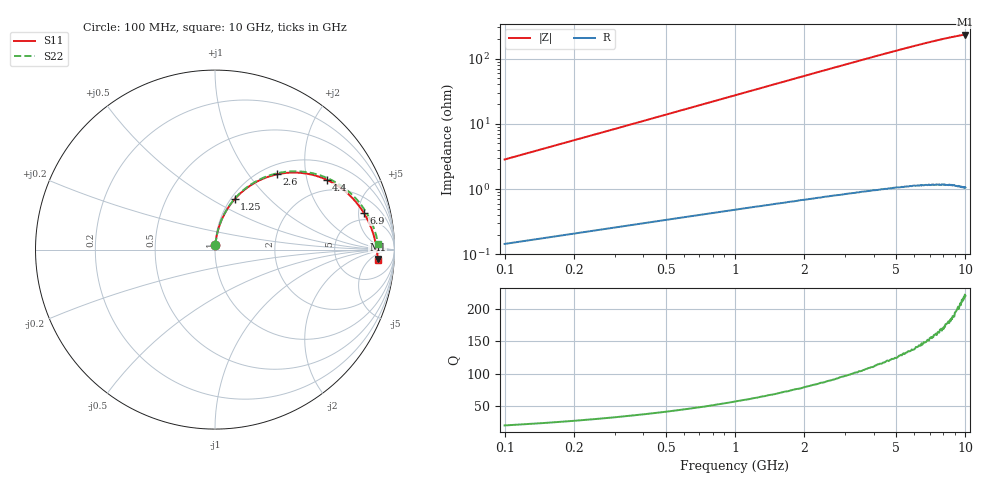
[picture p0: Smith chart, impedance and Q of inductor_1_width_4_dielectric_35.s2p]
# GHZ S MA R 50.00000
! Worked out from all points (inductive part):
!   199 points, 100 MHz to 10 GHz, reference 50 ohm
!   read as one part in series: L = 4.47 nH near 100 MHz
!   highest Q = 221 at 9.95 GHz (marker M1), where L = 3.72 nH
!   S11 on the Smith chart (normalised r, x): 100 MHz: 1.00, +0.05; 1.25 GHz: 1.04, +0.64; 2.6 GHz: 1.17, +1.39; 4.4 GHz: 1.57, +2.64; 6.9 GHz: 3.77, +5.71; 10 GHz: 15, -10
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0.1  0.02652 85.2  0.9982 -1.7  0.9982 -1.7  0.02652 85.2
0.15  0.03932 84.8  0.9974 -2.6  0.9974 -2.6  0.03932 84.9
0.2  0.05204 84.3  0.9966 -3.4  0.9966 -3.4  0.05204 84.3
0.25  0.06469 83.7  0.9956 -4.2  0.9956 -4.2  0.06469 83.7
0.35  0.0898 82.3  0.9932 -5.9  0.9932 -5.9  0.0898 82.4
0.45  0.1147 80.8  0.9902 -7.5  0.9902 -7.5  0.1147 81.0
0.6  0.1514 78.6  0.9848 -10.0  0.9848 -10.0  0.1514 78.7
0.8  0.1993 75.5  0.9757 -13.2  0.9757 -13.2  0.1993 75.7
1  0.2457 72.5  0.9647 -16.3  0.9647 -16.3  0.2457 72.7
1.25  0.3012 68.7  0.9484 -20.2  0.9484 -20.2  0.3012 69.0
1.75  0.4027 61.5  0.9094 -27.4  0.9094 -27.4  0.4027 62.0
2.15  0.4742 56.1  0.8741 -32.9  0.8741 -32.9  0.4742 56.7
2.6  0.5444 50.4  0.8322 -38.5  0.8322 -38.5  0.5444 51.2
3.4  0.6445 41.5  0.7576 -47.4  0.7576 -47.4  0.6444 42.5
4.4  0.7338 32.0  0.6722 -56.8  0.6722 -56.8  0.7338 33.4
5.05  0.7761 26.7  0.6234 -62.0  0.6234 -62.0  0.7761 28.4
5.85  0.8158 20.9  0.571 -67.7  0.571 -67.7  0.8158 22.9
6.7  0.847 15.2  0.524 -73.1  0.524 -73.1  0.8472 17.8
6.9  0.8531 14.0  0.5141 -74.3  0.5141 -74.3  0.8533 16.7
8.35  0.8866 5.5  0.4544 -82.2  0.4544 -82.2  0.887 9.3
9.95  0.9083 -3.3  0.4089 -90.3  0.4089 -90.3  0.909 2.2
10  0.9088 -3.6  0.4078 -90.5  0.4078 -90.5  0.9095 2.0
